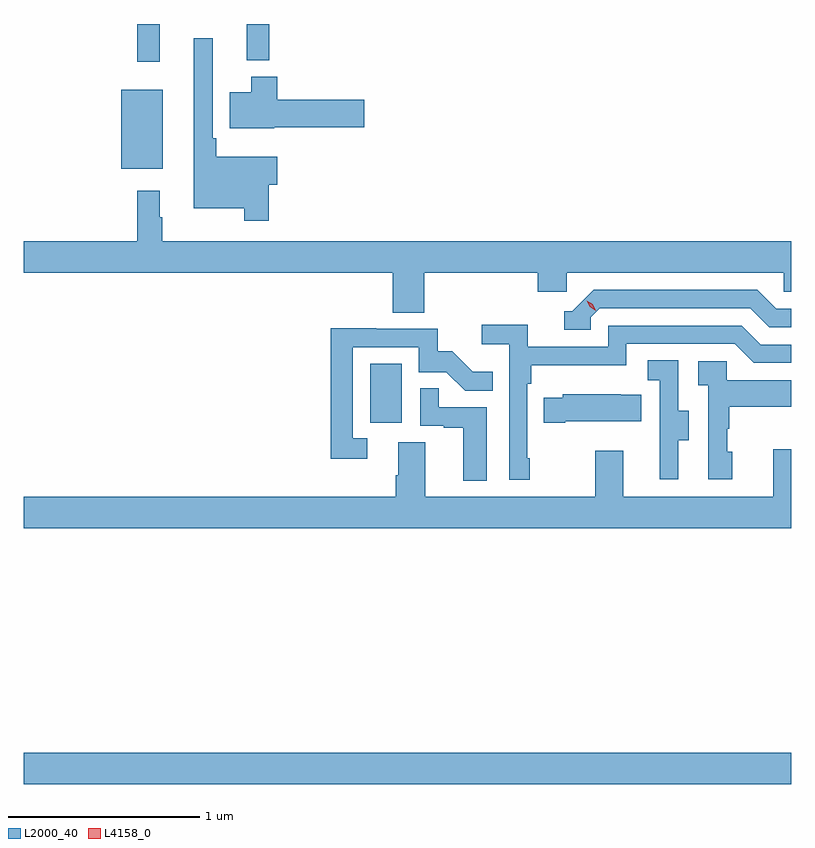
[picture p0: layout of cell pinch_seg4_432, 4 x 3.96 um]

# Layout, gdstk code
import gdstk
lib = gdstk.Library(unit=1e-6, precision=1e-09)
def R(c, l, rs):  # rectangles x0, y0, x1, y1
    for r in rs: c.add(gdstk.rectangle(r[:2], r[2:], *l))
def P(c, l, *ps):  # polygons
    for p in ps: c.add(gdstk.Polygon(p, *l))
L2000_40 = (2000, 40)
L4158_0 = (4158, 0)

pinch_seg4_432 = lib.new_cell('pinch_seg4_432')
R(pinch_seg4_432, L2000_40, [(948.285,772.844,952.285,773.008), (950.09,774.726,950.254,775.033), (948.794,776.051,949.009,776.461), (948.877,776.607,948.995,776.804), (949.448,776.615,949.565,776.804)])
P(pinch_seg4_432, L2000_40, [(949.562,775.966),(949.606,775.966),(949.606,776.113),(949.289,776.113),(949.289,776.209),(949.269,776.209),(949.269,776.731),(949.172,776.731),(949.172,775.844),(949.434,775.844),(949.434,775.779),(949.562,775.779)],
  [(949.59,776.267),(950.059,776.267),(950.059,776.409),(949.607,776.409),(949.607,776.53),(949.472,776.53),(949.472,776.449),(949.358,776.449),(949.358,776.261),(949.59,776.261)],
  [(950.372,775.508),(950.963,775.508),(950.963,775.41),(951.114,775.41),(951.114,775.508),(952.245,775.508),(952.245,775.41),(952.285,775.41),(952.285,775.672),(949.006,775.672),(949.006,775.796),(948.994,775.796),(948.994,775.936),(948.877,775.936),(948.877,775.672),(948.285,775.672),(948.285,775.508),(950.207,775.508),(950.207,775.3),(950.372,775.3)],
  [(951.24,775.275),(951.288,775.323),(952.071,775.323),(952.17,775.224),(952.285,775.224),(952.285,775.32),(952.207,775.32),(952.108,775.419),(951.255,775.419),(951.144,775.308),(951.101,775.308),(951.101,775.212),(951.24,775.212)],
  [(950.923,774.541),(950.91,774.541),(950.91,774.929),(950.93,774.929),(950.93,775.025),(951.426,775.025),(951.426,775.137),(951.99,775.137),(952.089,775.038),(952.285,775.038),(952.285,775.134),(952.126,775.134),(952.027,775.233),(951.33,775.233),(951.33,775.122),(950.912,775.122),(950.912,775.238),(950.673,775.238),(950.673,775.136),(950.814,775.136),(950.814,774.429),(950.923,774.429)],
  [(950.074,774.645),(950.001,774.645),(950.001,775.119),(950.343,775.119),(950.343,774.99),(950.488,774.99),(950.586,774.892),(950.729,774.892),(950.729,774.991),(950.625,774.991),(950.518,775.098),(950.442,775.098),(950.442,775.215),(950.123,775.215),(950.123,775.22),(949.885,775.22),(949.885,774.54),(950.074,774.54)],
  [(951.697,774.634),(951.751,774.634),(951.751,774.789),(951.696,774.789),(951.696,775.052),(951.537,775.052),(951.537,774.949),(951.6,774.949),(951.6,774.645),(951.599,774.645),(951.599,774.432),(951.697,774.432)],
  [(951.976,774.576),(951.951,774.576),(951.951,774.695),(951.961,774.695),(951.961,774.809),(952.285,774.809),(952.285,774.949),(951.948,774.949),(951.948,775.047),(951.801,775.047),(951.801,774.923),(951.852,774.923),(951.852,774.432),(951.976,774.432)],
  [(950.698,774.807),(950.447,774.807),(950.447,774.905),(950.352,774.905),(950.352,774.711),(950.473,774.711),(950.473,774.699),(950.576,774.699),(950.576,774.425),(950.698,774.425)],
  [(951.106,774.734),(951.503,774.734),(951.503,774.871),(951.395,774.871),(951.395,774.874),(951.093,774.874),(951.093,774.856),(950.995,774.856),(950.995,774.727),(951.106,774.727)],
  [(952.285,774.589),(952.19,774.589),(952.19,774.34),(951.409,774.34),(951.409,774.58),(951.262,774.58),(951.262,774.34),(950.377,774.34),(950.377,774.626),(950.237,774.626),(950.237,774.452),(950.225,774.452),(950.225,774.34),(948.285,774.34),(948.285,774.176),(952.285,774.176)])
P(pinch_seg4_432, L4158_0, [(951.266,775.311),(951.235,775.33),(951.219,775.363),(951.219,775.363),(951.22,775.363),(951.25,775.344),(951.266,775.311),(951.266,775.311)])

lib.write_gds('pinch_seg4_432.gds')
